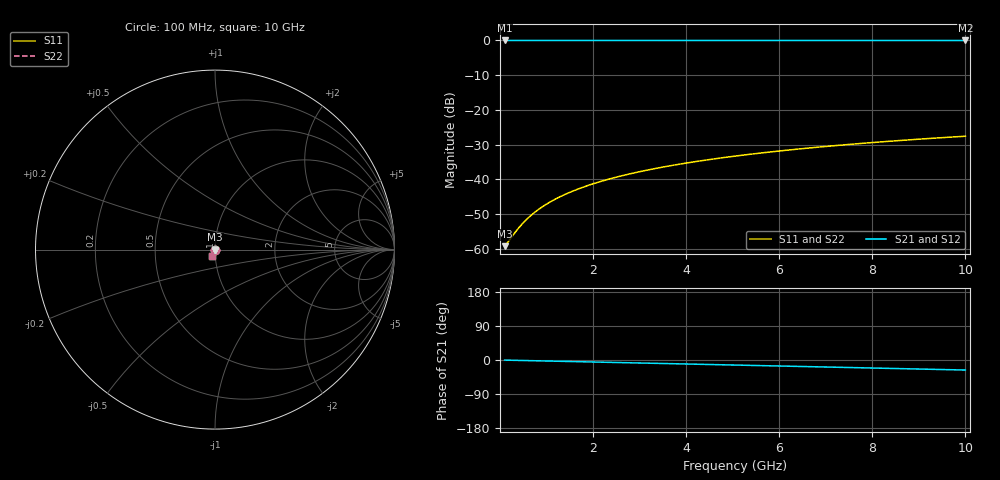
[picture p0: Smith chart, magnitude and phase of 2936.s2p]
# Hz S RI R 50.00
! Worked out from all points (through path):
!   100 points, 100 MHz to 10 GHz, reference 50 ohm
!   highest |S21| = -0.01 dB at 100 MHz (marker M1); lowest = 0.0 dB at 10 GHz (marker M2)
!   group delay of S21, straight-line fit = 7.36 ps
!   lowest |S11| = -59.3 dB at 100 MHz (marker M3), VSWR 1.00, Z = 50.1 - j0.0431 ohm
!   |S11| at or under -10 dB: start of sweep to end of sweep
!   |S22| runs from -59.3 to -27.6 dB; largest |S21 - S12| = 0
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1e8  0.000996 -0.00043  0.999 -0.00459  0.999 -0.00459  0.000996 -0.00043
2e8  0.000995 -0.000861  0.9989 -0.00917  0.9989 -0.00917  0.000995 -0.000861
3e8  0.000987 -0.00129  0.9989 -0.0138  0.9989 -0.0138  0.000987 -0.00129
4e8  0.000975 -0.00172  0.9988 -0.0183  0.9988 -0.0183  0.000975 -0.00172
5e8  0.000959 -0.00215  0.9987 -0.0229  0.9987 -0.0229  0.000959 -0.00215
6e8  0.000938 -0.00258  0.9986 -0.0275  0.9986 -0.0275  0.000938 -0.00258
7e8  0.000913 -0.00301  0.9984 -0.0321  0.9984 -0.0321  0.000913 -0.00301
8e8  0.000883 -0.00344  0.9983 -0.0367  0.9983 -0.0367  0.000883 -0.00344
1e9  0.000813 -0.0043  0.9979 -0.0459  0.9979 -0.0459  0.000813 -0.0043
1.2e9  0.000726 -0.00516  0.9974 -0.055  0.9974 -0.055  0.000726 -0.00516
1.5e9  0.000565 -0.00645  0.9965 -0.0688  0.9965 -0.0688  0.000565 -0.00645
1.8e9  0.000368 -0.00773  0.9955 -0.0825  0.9955 -0.0825  0.000368 -0.00773
2.1e9  0.000135 -0.00901  0.9942 -0.0962  0.9942 -0.0962  0.000135 -0.00901
2.5e9  -0.00023 -0.0107  0.9922 -0.1145  0.9922 -0.1145  -0.00023 -0.0107
2.9e9  -0.000658 -0.0124  0.9899 -0.1328  0.9899 -0.1328  -0.000658 -0.0124
3.4e9  -0.00128 -0.0145  0.9866 -0.1555  0.9866 -0.1555  -0.00128 -0.0145
4.2e9  -0.00248 -0.0178  0.9801 -0.1918  0.9801 -0.1918  -0.00248 -0.0178
5.1e9  -0.00411 -0.0213  0.9711 -0.2323  0.9711 -0.2323  -0.00411 -0.0213
5.9e9  -0.00581 -0.0244  0.9618 -0.2681  0.9618 -0.2681  -0.00581 -0.0244
6.7e9  -0.00773 -0.0274  0.9511 -0.3035  0.9511 -0.3035  -0.00773 -0.0274
8.4e9  -0.0125 -0.0331  0.9239 -0.3774  0.9239 -0.3774  -0.0125 -0.0331
1e10  -0.0178 -0.0377  0.893 -0.445  0.893 -0.445  -0.0178 -0.0377
